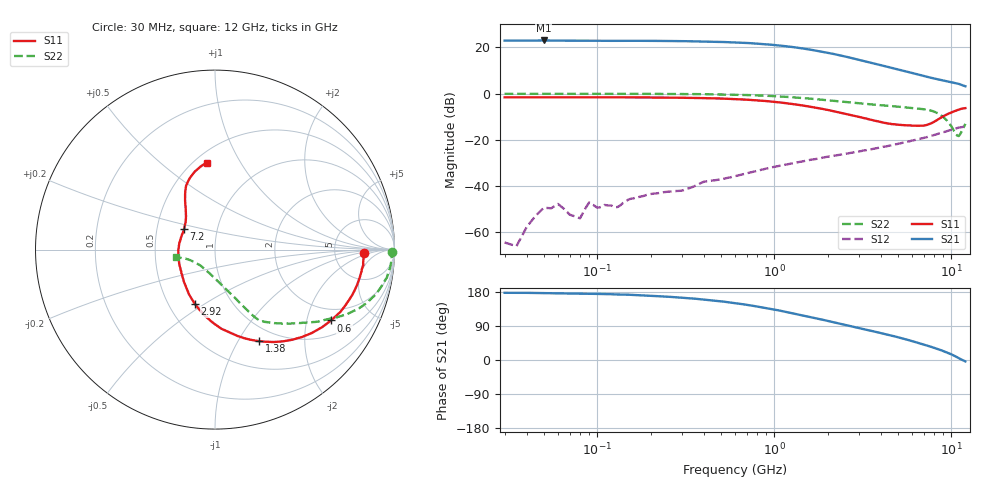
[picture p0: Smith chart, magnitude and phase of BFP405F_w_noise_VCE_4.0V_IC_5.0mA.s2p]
! Infineon Technologies  Discrete & RF Semiconductors
! BFP405F
! VCE =  4.0 V,  IC =  5.0 mA
! Common Emitter S-Parameters:  Nov 2015
# GHz  S  MA  R  50
!  f  S11  S21  S12  S22
! GHz  MAG  ANG  MAG  ANG  MAG  ANG  MAG  ANG
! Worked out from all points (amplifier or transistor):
!   239 points, 30 MHz to 12 GHz, reference 50 ohm
!   highest |S21| = 23.0 dB at 50 MHz (marker M1)
!   |S21| within 3 dB of that: start of sweep to 1.313 GHz
!   unconditionally stable (mu >= 1): start of sweep to 35.25 MHz; 2.998 GHz to end of sweep
!   at 300 MHz: K = 0.06, MSG = 32.4 dB, |S12| = -42.0 dB
!   at 1.88 GHz: K = 0.66, MSG = 22.9 dB, |S12| = -27.7 dB
!   at 12 GHz: K = 1.46, MAG = 4.7 dB, |S12| = -14.3 dB
!   lowest NFmin = 1.29 dB at 450 MHz
!   S11 on the Smith chart (normalised r, x): 30 MHz: 10, -1; 600 MHz: 1.52, -2.81; 1.38 GHz: 0.82, -1.23; 2.92 GHz: 0.67, -0.45; 7.2 GHz: 0.69, +0.17; 12 GHz: 0.58, +0.72
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0.03  0.828 -1.5  13.95 177.3  0.0006 -50.8  0.9849 -0.9
0.035  0.8275 -1.7  13.94 177.3  0.0005 59.2  0.9852 -0.8
0.05  0.8285 -2.5  14.05 176.4  0.0034 89.5  0.9895 -1.1
0.06  0.8291 -2.9  13.9 176.0  0.0041 33.8  0.9827 -1.1
0.08  0.8283 -4.4  13.84 174.8  0.002 39.1  0.9867 -1.6
0.085  0.8284 -4.7  13.86 174.8  0.0031 65.5  0.9867 -1.8
0.15  0.826 -8.1  13.82 172.3  0.0051 70.8  0.9858 -3.5
0.24  0.818 -12.9  13.68 167.5  0.0074 75.1  0.9812 -5.7
0.4  0.7957 -21.3  13.37 159.5  0.0124 80.5  0.9698 -9.3
0.6  0.7577 -31.4  12.73 150.0  0.0163 74.9  0.9427 -13.7
0.7  0.7365 -36.0  12.42 145.6  0.0188 74.9  0.9282 -15.7
1  0.6617 -49.4  11.21 133.0  0.026 70.3  0.8769 -21.2
1.38  0.5667 -64.2  9.682 119.8  0.033 65.8  0.8101 -26.6
1.64  0.5094 -73.4  8.738 112.3  0.0374 63.2  0.7679 -29.6
2.2  0.4087 -91.4  7.074 98.6  0.0457 60.1  0.6888 -35.8
2.92  0.3221 -110.6  5.526 85.7  0.0548 57.4  0.6187 -41.4
3.5  0.2721 -124.8  4.663 77.2  0.0619 55.7  0.582 -45.1
4.5  0.2225 -149.3  3.66 65.4  0.0747 54.0  0.5385 -49.7
7.2  0.2073 146.2  2.327 38.7  0.1131 47.3  0.4483 -58.9
9  0.3221 121.2  1.914 23.6  0.1455 41.0  0.3114 -66.0
10.8  0.437 106.6  1.647 7.0  0.1797 30.6  0.1229 -118.4
12  0.4836 95.6  1.433 -3.7  0.1936 24.0  0.2208 -169.2
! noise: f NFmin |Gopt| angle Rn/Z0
0.45  1.29  0.38  5  0.34
0.9  1.3  0.35  13  0.36
1.5  1.37  0.33  18  0.31
1.9  1.4  0.31  25  0.32
2.4  1.56  0.29  33  0.34
3  1.63  0.27  45  0.32
3.5  1.68  0.25  54  0.31
4.5  1.84  0.2  66  0.28
5.5  2.06  0.12  78  0.11
